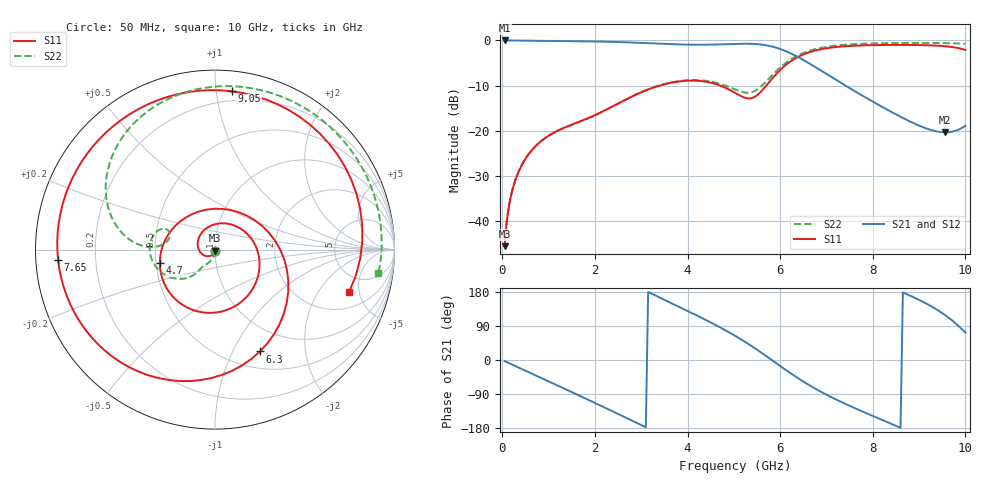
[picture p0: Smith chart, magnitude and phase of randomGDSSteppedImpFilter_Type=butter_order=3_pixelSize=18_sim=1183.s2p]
! freq	dB(S11)	phase(S11)	dB(S12)	phase(S12)
!  dB(S21)	phase(S21)	dB(S22)	phase(S22)
!S-par simulation data
#  GHz  S  DB  R 50
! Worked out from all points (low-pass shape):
!   200 points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, 50 MHz to 10 GHz, reference 50 ohm
!   highest |S21| = -0.01 dB at 50 MHz (marker M1); lowest = -20.4 dB at 9.55 GHz (marker M2)
!   |S21| within 3 dB of the highest: start of sweep to 6.258 GHz
!   lowest |S11| = -45.6 dB at 50 MHz (marker M3), VSWR 1.01, Z = 50 - j0.523 ohm
!   |S11| at or under -10 dB: start of sweep to 3.402 GHz; 4.703 GHz to 5.701 GHz (997.6 MHz wide, 19.2 % of centre)
!   |S22| runs from -45.6 to -0.6 dB; largest |S21 - S12| = 0
!   S11 on the Smith chart (normalised r, x): 50 MHz: 1.00, -0.01; 4.7 GHz: 0.52, -0.09; 6.3 GHz: 0.70, -1.28; 7.65 GHz: 0.07, -0.03; 9.05 GHz: 0.13, +1.11; 10 GHz: 3.19, -3.94
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0.05  -45.63 -90.2  -0.01 -2.9  -0.01 -2.9  -45.60 -87.4
0.2  -33.91 -105.6  -0.02 -11.3  -0.02 -11.3  -33.85 -95.3
0.5  -26.26 -131.6  -0.05 -28.2  -0.05 -28.2  -26.21 -105.4
1.15  -20.26 169.8  -0.12 -64.8  -0.12 -64.8  -20.26 -121.1
1.75  -17.67 107.3  -0.19 -98.9  -0.19 -98.9  -17.72 -126.8
2.65  -13.19 11.0  -0.40 -151.1  -0.40 -151.1  -13.20 -134.2
3.4  -10.00 -55.6  -0.73 164.8  -0.73 164.8  -9.95 -155.1
4.05  -8.92 -107.7  -0.94 126.6  -0.94 126.6  -8.79 -178.5
4.7  -9.99 -166.1  -0.88 86.3  -0.88 86.3  -9.61 160.8
5.05  -11.77 149.2  -0.76 62.2  -0.76 62.2  -10.97 157.7
5.4  -12.75 80.3  -0.76 35.4  -0.76 35.4  -11.43 168.9
5.7  -10.01 17.0  -1.08 10.3  -1.08 10.3  -9.07 177.7
6  -6.55 -29.9  -1.89 -15.8  -1.89 -15.8  -6.00 171.8
6.3  -4.15 -66.2  -3.22 -41.2  -3.22 -41.2  -3.77 157.5
6.7  -2.40 -105.2  -5.54 -71.5  -5.54 -71.5  -2.09 135.3
7.2  -1.47 -144.9  -8.71 -103.7  -8.71 -103.7  -1.16 108.9
7.65  -1.15 -176.3  -11.50 -129.1  -11.50 -129.1  -0.80 87.3
8.35  -1.00 136.3  -15.57 -165.8  -15.57 -165.8  -0.59 56.6
9.05  -1.04 83.8  -19.11 155.5  -19.11 155.5  -0.55 28.1
9.55  -1.27 37.8  -20.40 119.5  -20.40 119.5  -0.60 8.7
9.8  -1.60 9.5  -20.00 95.4  -20.00 95.4  -0.66 -0.7
10  -2.12 -17.7  -18.93 72.3  -18.93 72.3  -0.73 -8.2
